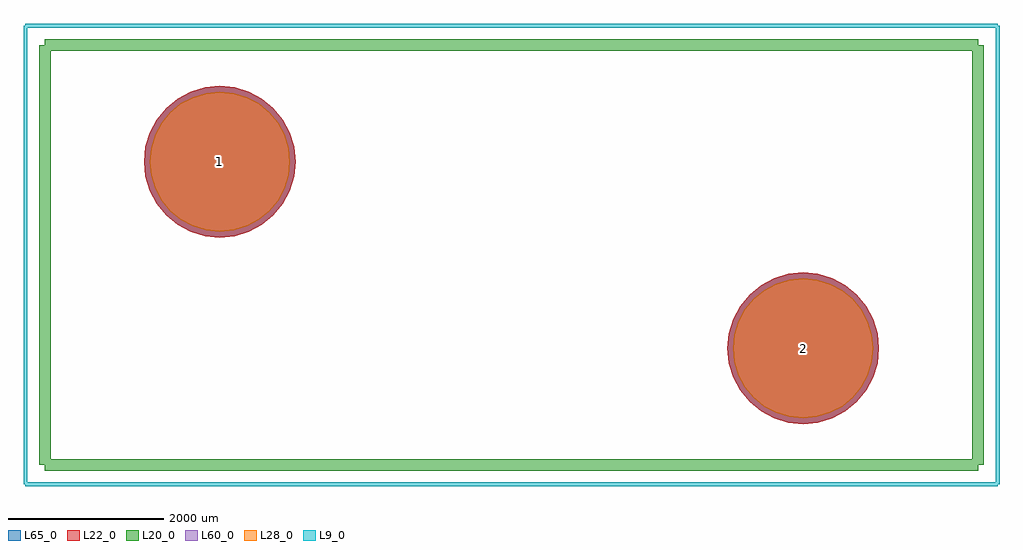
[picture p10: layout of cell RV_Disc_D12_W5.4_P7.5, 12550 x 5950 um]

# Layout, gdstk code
import gdstk
lib = gdstk.Library(unit=1e-6, precision=1e-09)
def P(c, l, *ps):  # polygons
    for p in ps: c.add(gdstk.Polygon(p, *l))
L9_0 = (9, 0)
L20_0 = (20, 0)
L22_0 = (22, 0)
L28_0 = (28, 0)
L60_0 = (60, 0)
L65_0 = (65, 0)

rv_disc_d12_w5_4_p7_5 = lib.new_cell('RV_Disc_D12_W5.4_P7.5')
P(rv_disc_d12_w5_4_p7_5, L22_0, [(8475,-2400),(8456.266,-2209.787),(8400.783,-2026.884),(8310.683,-1858.319),(8189.429,-1710.571),(8041.681,-1589.317),(7873.116,-1499.217),(7690.213,-1443.734),(7500,-1425),(7309.787,-1443.734),(7126.884,-1499.217),(6958.319,-1589.317),(6810.571,-1710.571),(6689.317,-1858.319),(6599.217,-2026.884),(6543.734,-2209.787),(6525,-2400),(6543.734,-2590.213),(6599.217,-2773.116),(6689.317,-2941.681),(6810.571,-3089.429),(6958.319,-3210.683),(7126.884,-3300.783),(7309.787,-3356.266),(7500,-3375),(7690.213,-3356.266),(7873.116,-3300.783),(8041.681,-3210.683),(8189.429,-3089.429),(8310.683,-2941.681),(8400.783,-2773.116),(8456.266,-2590.213)],
  [(975,0),(956.266,190.213),(900.783,373.116),(810.683,541.681),(689.429,689.429),(541.681,810.683),(373.116,900.783),(190.213,956.266),(0,975),(-190.213,956.266),(-373.116,900.783),(-541.681,810.683),(-689.429,689.429),(-810.683,541.681),(-900.783,373.116),(-956.266,190.213),(-975,0),(-956.266,-190.213),(-900.783,-373.116),(-810.683,-541.681),(-689.429,-689.429),(-541.681,-810.683),(-373.116,-900.783),(-190.213,-956.266),(0,-975),(190.213,-956.266),(373.116,-900.783),(541.681,-810.683),(689.429,-689.429),(810.683,-541.681),(900.783,-373.116),(956.266,-190.213)])
P(rv_disc_d12_w5_4_p7_5, L28_0, [(8400,-2400),(8382.707,-2224.419),(8331.492,-2055.585),(8248.323,-1899.987),(8136.396,-1763.604),(8000.013,-1651.677),(7844.415,-1568.508),(7675.581,-1517.293),(7500,-1500),(7324.419,-1517.293),(7155.585,-1568.508),(6999.987,-1651.677),(6863.604,-1763.604),(6751.677,-1899.987),(6668.508,-2055.585),(6617.293,-2224.419),(6600,-2400),(6617.293,-2575.581),(6668.508,-2744.415),(6751.677,-2900.013),(6863.604,-3036.396),(6999.987,-3148.323),(7155.585,-3231.492),(7324.419,-3282.707),(7500,-3300),(7675.581,-3282.707),(7844.415,-3231.492),(8000.013,-3148.323),(8136.396,-3036.396),(8248.323,-2900.013),(8331.492,-2744.415),(8382.707,-2575.581)],
  [(900,0),(882.707,175.581),(831.492,344.415),(748.323,500.013),(636.396,636.396),(500.013,748.323),(344.415,831.492),(175.581,882.707),(0,900),(-175.581,882.707),(-344.415,831.492),(-500.013,748.323),(-636.396,636.396),(-748.323,500.013),(-831.492,344.415),(-882.707,175.581),(-900,0),(-882.707,-175.581),(-831.492,-344.415),(-748.323,-500.013),(-636.396,-636.396),(-500.013,-748.323),(-344.415,-831.492),(-175.581,-882.707),(0,-900),(175.581,-882.707),(344.415,-831.492),(500.013,-748.323),(636.396,-636.396),(748.323,-500.013),(831.492,-344.415),(882.707,-175.581)])
P(rv_disc_d12_w5_4_p7_5, L60_0, [(8400,-2400),(8382.707,-2224.419),(8331.492,-2055.585),(8248.323,-1899.987),(8136.396,-1763.604),(8000.013,-1651.677),(7844.415,-1568.508),(7675.581,-1517.293),(7500,-1500),(7324.419,-1517.293),(7155.585,-1568.508),(6999.987,-1651.677),(6863.604,-1763.604),(6751.677,-1899.987),(6668.508,-2055.585),(6617.293,-2224.419),(6600,-2400),(6617.293,-2575.581),(6668.508,-2744.415),(6751.677,-2900.013),(6863.604,-3036.396),(6999.987,-3148.323),(7155.585,-3231.492),(7324.419,-3282.707),(7500,-3300),(7675.581,-3282.707),(7844.415,-3231.492),(8000.013,-3148.323),(8136.396,-3036.396),(8248.323,-2900.013),(8331.492,-2744.415),(8382.707,-2575.581)],
  [(900,0),(882.707,175.581),(831.492,344.415),(748.323,500.013),(636.396,636.396),(500.013,748.323),(344.415,831.492),(175.581,882.707),(0,900),(-175.581,882.707),(-344.415,831.492),(-500.013,748.323),(-636.396,636.396),(-748.323,500.013),(-831.492,344.415),(-882.707,175.581),(-900,0),(-882.707,-175.581),(-831.492,-344.415),(-748.323,-500.013),(-636.396,-636.396),(-500.013,-748.323),(-344.415,-831.492),(-175.581,-882.707),(0,-900),(175.581,-882.707),(344.415,-831.492),(500.013,-748.323),(636.396,-636.396),(748.323,-500.013),(831.492,-344.415),(882.707,-175.581)])
P(rv_disc_d12_w5_4_p7_5, L65_0, [(8475,-2400),(8456.266,-2209.787),(8400.783,-2026.884),(8310.683,-1858.319),(8189.429,-1710.571),(8041.681,-1589.317),(7873.116,-1499.217),(7690.213,-1443.734),(7500,-1425),(7309.787,-1443.734),(7126.884,-1499.217),(6958.319,-1589.317),(6810.571,-1710.571),(6689.317,-1858.319),(6599.217,-2026.884),(6543.734,-2209.787),(6525,-2400),(6543.734,-2590.213),(6599.217,-2773.116),(6689.317,-2941.681),(6810.571,-3089.429),(6958.319,-3210.683),(7126.884,-3300.783),(7309.787,-3356.266),(7500,-3375),(7690.213,-3356.266),(7873.116,-3300.783),(8041.681,-3210.683),(8189.429,-3089.429),(8310.683,-2941.681),(8400.783,-2773.116),(8456.266,-2590.213)],
  [(975,0),(956.266,190.213),(900.783,373.116),(810.683,541.681),(689.429,689.429),(541.681,810.683),(373.116,900.783),(190.213,956.266),(0,975),(-190.213,956.266),(-373.116,900.783),(-541.681,810.683),(-689.429,689.429),(-810.683,541.681),(-900.783,373.116),(-956.266,190.213),(-975,0),(-956.266,-190.213),(-900.783,-373.116),(-810.683,-541.681),(-689.429,-689.429),(-541.681,-810.683),(-373.116,-900.783),(-190.213,-956.266),(0,-975),(190.213,-956.266),(373.116,-900.783),(541.681,-810.683),(689.429,-689.429),(810.683,-541.681),(900.783,-373.116),(956.266,-190.213)])
rv_disc_d12_w5_4_p7_5.add(gdstk.FlexPath([(-2250,1500),(-2250,-3900)], 149.998, ends="flush", simple_path=True, layer=20, datatype=0))  # L20_0
rv_disc_d12_w5_4_p7_5.add(gdstk.FlexPath([(9750,1500),(9750,-3900)], 149.998, ends="flush", simple_path=True, layer=20, datatype=0))  # L20_0
rv_disc_d12_w5_4_p7_5.add(gdstk.FlexPath([(-2250,1500),(9750,1500)], 149.998, ends="flush", simple_path=True, layer=20, datatype=0))  # L20_0
rv_disc_d12_w5_4_p7_5.add(gdstk.FlexPath([(-2250,-3900),(9750,-3900)], 149.998, ends="flush", simple_path=True, layer=20, datatype=0))  # L20_0
rv_disc_d12_w5_4_p7_5.add(gdstk.FlexPath([(-2500,1750),(-2500,-4150)], 50, ends="flush", simple_path=True, layer=9, datatype=0))  # L9_0
rv_disc_d12_w5_4_p7_5.add(gdstk.FlexPath([(10000,1750),(10000,-4150)], 50, ends="flush", simple_path=True, layer=9, datatype=0))  # L9_0
rv_disc_d12_w5_4_p7_5.add(gdstk.FlexPath([(-2500,1750),(10000,1750)], 50, ends="flush", simple_path=True, layer=9, datatype=0))  # L9_0
rv_disc_d12_w5_4_p7_5.add(gdstk.FlexPath([(-2500,-4150),(10000,-4150)], 50, ends="flush", simple_path=True, layer=9, datatype=0))  # L9_0
rv_disc_d12_w5_4_p7_5.add(gdstk.Label('2', (7500,-2400), layer=28, texttype=0))
rv_disc_d12_w5_4_p7_5.add(gdstk.Label('1', (0,0), layer=28, texttype=0))
rv_disc_d12_w5_4_p7_5.add(gdstk.Label('type', (3750,2500), layer=9, texttype=0))
rv_disc_d12_w5_4_p7_5.add(gdstk.Label('devicename', (3750,-4900), layer=9, texttype=0))

lib.write_gds('RV_Disc_D12_W5.4_P7.5.gds')
